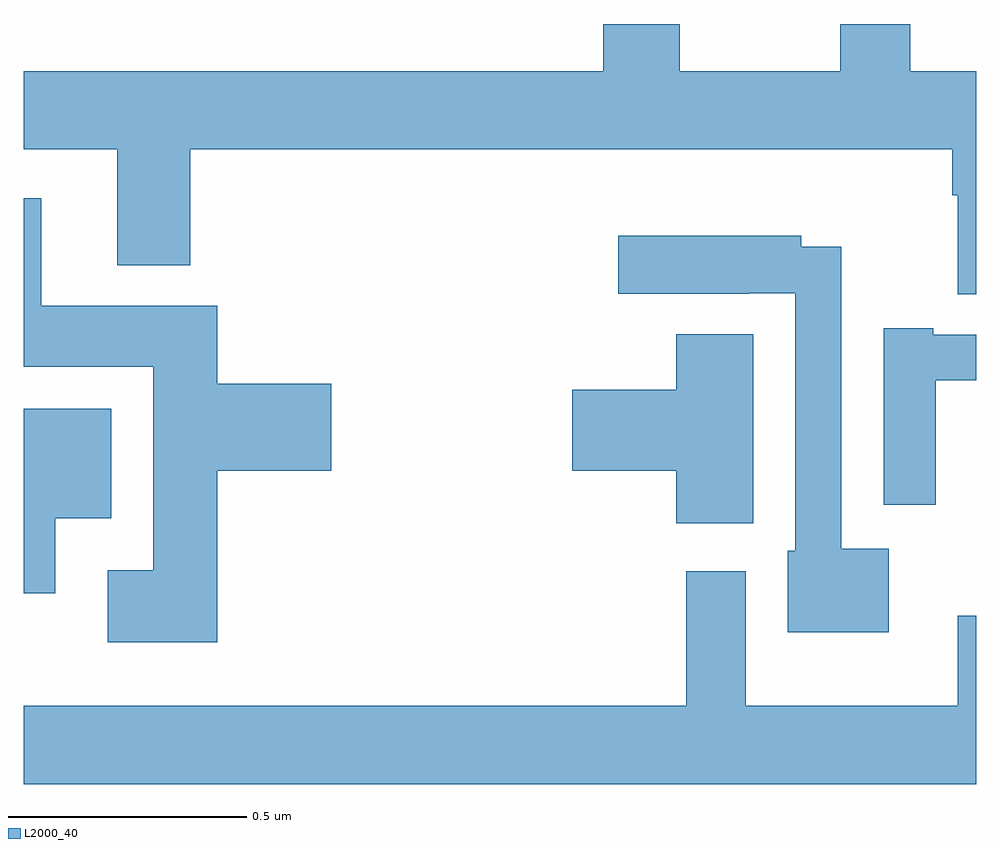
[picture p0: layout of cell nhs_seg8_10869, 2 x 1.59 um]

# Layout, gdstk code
import gdstk
lib = gdstk.Library(unit=1e-6, precision=1e-09)
def P(c, l, *ps):  # polygons
    for p in ps: c.add(gdstk.Polygon(p, *l))
L2000_40 = (2000, 40)

nhs_seg8_10869 = lib.new_cell('nhs_seg8_10869')
P(nhs_seg8_10869, L2000_40, [(255,1108.508),(255.197,1108.508),(255.197,1108.265),(255.35,1108.265),(255.35,1108.508),(256.949,1108.508),(256.949,1108.412),(256.961,1108.412),(256.961,1108.204),(257,1108.204),(257,1108.672),(256.861,1108.672),(256.861,1108.771),(256.714,1108.771),(256.714,1108.672),(256.377,1108.672),(256.377,1108.771),(256.217,1108.771),(256.217,1108.672),(255,1108.672)],
  [(255.407,1107.833),(255.646,1107.833),(255.646,1108.016),(255.407,1108.016),(255.407,1108.18),(255.037,1108.18),(255.037,1108.405),(255,1108.405),(255,1108.052),(255.272,1108.052),(255.272,1107.625),(255.177,1107.625),(255.177,1107.473),(255.407,1107.473)],
  [(256.816,1107.67),(256.716,1107.67),(256.716,1108.304),(256.632,1108.304),(256.632,1108.327),(256.248,1108.327),(256.248,1108.205),(256.523,1108.205),(256.523,1108.206),(256.62,1108.206),(256.62,1107.666),(256.604,1107.666),(256.604,1107.494),(256.816,1107.494)],
  [(256.915,1108.023),(257,1108.023),(257,1108.119),(256.909,1108.119),(256.909,1108.132),(256.805,1108.132),(256.805,1107.762),(256.915,1107.762)],
  [(256.531,1108.12),(256.37,1108.12),(256.37,1108.003),(256.152,1108.003),(256.152,1107.833),(256.37,1107.833),(256.37,1107.723),(256.531,1107.723)],
  [(255.067,1107.734),(255.184,1107.734),(255.184,1107.964),(255,1107.964),(255,1107.576),(255.067,1107.576)],
  [(257,1107.529),(256.961,1107.529),(256.961,1107.34),(256.516,1107.34),(256.516,1107.622),(256.391,1107.622),(256.391,1107.34),(255,1107.34),(255,1107.176),(257,1107.176)])

lib.write_gds('nhs_seg8_10869.gds')
